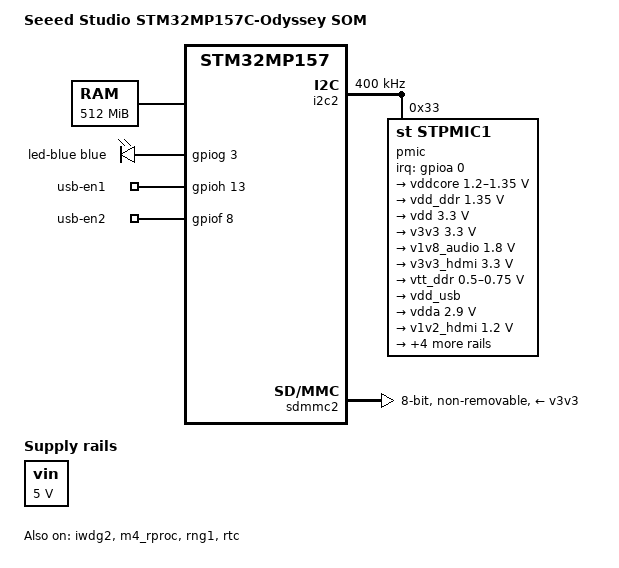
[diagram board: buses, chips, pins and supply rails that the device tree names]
// SPDX-License-Identifier: (GPL-2.0+ OR BSD-3-Clause)
/*
 * Copyright (C) 2020 Marcin Sloniewski <marcin.sloniewski@gmail.com>.
 */

/dts-v1/;

#include "stm32mp157.dtsi"
#include "stm32mp15xc.dtsi"
#include "stm32mp15-pinctrl.dtsi"
#include "stm32mp15xxac-pinctrl.dtsi"
#include <dt-bindings/gpio/gpio.h>
#include <dt-bindings/leds/common.h>
#include <dt-bindings/mfd/st,stpmic1.h>

/ {
	model = "Seeed Studio STM32MP157C-Odyssey SOM";
	compatible = "seeed,stm32mp157c-odyssey-som", "st,stm32mp157";

	memory@c0000000 {
		device_type = "memory";
		reg = <0xc0000000 0x20000000>;
	};

	reserved-memory {
		#address-cells = <1>;
		#size-cells = <1>;
		ranges;

		mcuram2: mcuram2@10000000 {
			compatible = "shared-dma-pool";
			reg = <0x10000000 0x40000>;
			no-map;
		};

		vdev0vring0: vdev0vring0@10040000 {
			compatible = "shared-dma-pool";
			reg = <0x10040000 0x1000>;
			no-map;
		};

		vdev0vring1: vdev0vring1@10041000 {
			compatible = "shared-dma-pool";
			reg = <0x10041000 0x1000>;
			no-map;
		};

		vdev0buffer: vdev0buffer@10042000 {
			compatible = "shared-dma-pool";
			reg = <0x10042000 0x4000>;
			no-map;
		};

		mcuram: mcuram@30000000 {
			compatible = "shared-dma-pool";
			reg = <0x30000000 0x40000>;
			no-map;
		};

		retram: retram@38000000 {
			compatible = "shared-dma-pool";
			reg = <0x38000000 0x10000>;
			no-map;
		};
	};

	led {
		compatible = "gpio-leds";
		led-blue {
			color = <LED_COLOR_ID_BLUE>;
			function = LED_FUNCTION_HEARTBEAT;
			gpios = <&gpiog 3 GPIO_ACTIVE_HIGH>;
			linux,default-trigger = "heartbeat";
		};

		/* enable stmps2252 usb power switch */
		usben1 {
			label = "usb-en1";
			gpios = <&gpioh  13  GPIO_ACTIVE_HIGH>;
			linux,default-trigger = "usb-en1";
			default-state = "on";
		};

		usben2 {
			label = "usb-en2";
			gpios = <&gpiof  8  GPIO_ACTIVE_HIGH>;
			linux,default-trigger = "usb-en2";
			default-state = "on";
		};
	};

	usb_phy_tuning: usb-phy-tuning {
		st,hs-dc-level = <2>;
		st,fs-rftime-tuning;
		st,hs-rftime-reduction;
		st,hs-current-trim = <15>;
		st,hs-impedance-trim = <1>;
		st,squelch-level = <3>;
		st,hs-rx-offset = <2>;
		st,no-lsfs-sc;
	};

	vin: vin {
		compatible = "regulator-fixed";
		regulator-name = "vin";
		regulator-min-microvolt = <5000000>;
		regulator-max-microvolt = <5000000>;
		regulator-always-on;
 	};
};

&i2c2 {
	pinctrl-names = "default", "sleep";
	pinctrl-0 = <&i2c2_pins_a>;
	pinctrl-1 = <&i2c2_sleep_pins_a>;
	i2c-scl-rising-time-ns = <185>;
	i2c-scl-falling-time-ns = <20>;
	clock-frequency = <400000>;
	status = "okay";
	/* spare dmas for other usage */
	/delete-property/dmas;
	/delete-property/dma-names;

	pmic: stpmic@33 {
		compatible = "st,stpmic1";
		reg = <0x33>;
		interrupts-extended = <&gpioa 0 IRQ_TYPE_EDGE_FALLING>;
		interrupt-controller;
		#interrupt-cells = <2>;
		status = "okay";

		regulators {
			compatible = "st,stpmic1-regulators";
			buck1-supply = <&vin>;
			buck2-supply = <&vin>;
			buck3-supply = <&vin>;
			buck4-supply = <&vin>;
 			ldo1-supply = <&v3v3>;
			ldo2-supply = <&vin>;
 			ldo3-supply = <&vdd_ddr>;
			ldo4-supply = <&vin>;
			ldo5-supply = <&vin>;
 			ldo6-supply = <&v3v3>;
			vref_ddr-supply = <&vin>;
			boost-supply = <&vin>;
 			pwr_sw1-supply = <&bst_out>;
 			pwr_sw2-supply = <&bst_out>;

			vddcore: buck1 {
				regulator-name = "vddcore";
				regulator-min-microvolt = <1200000>;
				regulator-max-microvolt = <1350000>;
				regulator-always-on;
				regulator-initial-mode = <0>;
				regulator-over-current-protection;
			};

			vdd_ddr: buck2 {
				regulator-name = "vdd_ddr";
				regulator-min-microvolt = <1350000>;
				regulator-max-microvolt = <1350000>;
				regulator-always-on;
				regulator-initial-mode = <0>;
				regulator-over-current-protection;
			};

			vdd: buck3 {
				regulator-name = "vdd";
				regulator-min-microvolt = <3300000>;
				regulator-max-microvolt = <3300000>;
				regulator-always-on;
				st,mask-reset;
				regulator-initial-mode = <0>;
				regulator-over-current-protection;
			};

			v3v3: buck4 {
				regulator-name = "v3v3";
				regulator-min-microvolt = <3300000>;
				regulator-max-microvolt = <3300000>;
				regulator-always-on;
				regulator-over-current-protection;
				regulator-initial-mode = <0>;
			};

			v1v8_audio: ldo1 {
				regulator-name = "v1v8_audio";
				regulator-min-microvolt = <1800000>;
				regulator-max-microvolt = <1800000>;
				regulator-always-on;
				interrupts = <IT_CURLIM_LDO1 0>;
			};

			v3v3_hdmi: ldo2 {
				regulator-name = "v3v3_hdmi";
				regulator-min-microvolt = <3300000>;
				regulator-max-microvolt = <3300000>;
				regulator-always-on;
				interrupts = <IT_CURLIM_LDO2 0>;
			};

			vtt_ddr: ldo3 {
				regulator-name = "vtt_ddr";
				regulator-min-microvolt = <500000>;
				regulator-max-microvolt = <750000>;
				regulator-always-on;
				regulator-over-current-protection;
			};

			vdd_usb: ldo4 {
				regulator-name = "vdd_usb";
				interrupts = <IT_CURLIM_LDO4 0>;
			};

			vdda: ldo5 {
				regulator-name = "vdda";
				regulator-min-microvolt = <2900000>;
				regulator-max-microvolt = <2900000>;
				interrupts = <IT_CURLIM_LDO5 0>;
				regulator-boot-on;
			};

			v1v2_hdmi: ldo6 {
				regulator-name = "v1v2_hdmi";
				regulator-min-microvolt = <1200000>;
				regulator-max-microvolt = <1200000>;
				regulator-always-on;
				interrupts = <IT_CURLIM_LDO6 0>;
			};

			vref_ddr: vref_ddr {
				regulator-name = "vref_ddr";
				regulator-always-on;
			};

			 bst_out: boost {
				regulator-name = "bst_out";
				interrupts = <IT_OCP_BOOST 0>;
			 };

			vbus_otg: pwr_sw1 {
				regulator-name = "vbus_otg";
				interrupts = <IT_OCP_OTG 0>;
			 };

			 vbus_sw: pwr_sw2 {
				regulator-name = "vbus_sw";
				interrupts = <IT_OCP_SWOUT 0>;
				regulator-active-discharge = <1>;
			 };
		};

		onkey {
			compatible = "st,stpmic1-onkey";
			interrupts = <IT_PONKEY_F 0>, <IT_PONKEY_R 0>;
			interrupt-names = "onkey-falling", "onkey-rising";
			power-off-time-sec = <10>;
			status = "okay";
		};

		watchdog {
			compatible = "st,stpmic1-wdt";
			status = "disabled";
		};
	};
};

&ipcc {
	status = "okay";
};

&iwdg2 {
	timeout-sec = <32>;
	status = "okay";
};

&m4_rproc {
	memory-region = <&retram>, <&mcuram>, <&mcuram2>, <&vdev0vring0>,
			<&vdev0vring1>, <&vdev0buffer>;
	mboxes = <&ipcc 0>, <&ipcc 1>, <&ipcc 2>, <&ipcc 3>;
	mbox-names = "vq0", "vq1", "shutdown", "detach";
	interrupt-parent = <&exti>;
	interrupts = <68 1>;
	status = "okay";
};

&rng1 {
	status = "okay";
};

&rtc {
	status = "okay";
};

&sdmmc2 {
	pinctrl-names = "default", "opendrain", "sleep";
	pinctrl-0 = <&sdmmc2_b4_pins_a &sdmmc2_d47_pins_d>;
	pinctrl-1 = <&sdmmc2_b4_od_pins_a &sdmmc2_d47_pins_d>;
	pinctrl-2 = <&sdmmc2_b4_sleep_pins_a &sdmmc2_d47_sleep_pins_d>;
	non-removable;
	no-sd;
	no-sdio;
	st,neg-edge;
	bus-width = <8>;
	vmmc-supply = <&v3v3>;
	vqmmc-supply = <&vdd>;
	mmc-ddr-3_3v;
	status = "okay";
};

&cpu0{
	cpu-supply = <&vddcore>;
};

&cpu1{
	cpu-supply = <&vddcore>;
};
